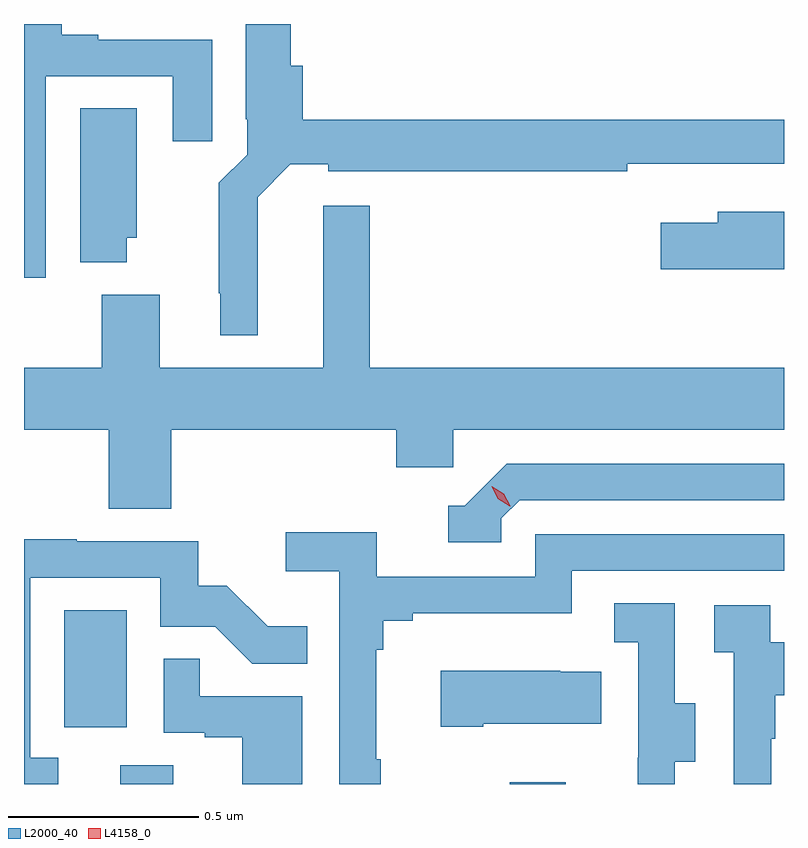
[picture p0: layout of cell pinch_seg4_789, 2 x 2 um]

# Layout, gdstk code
import gdstk
lib = gdstk.Library(unit=1e-6, precision=1e-09)
def R(c, l, rs):  # rectangles x0, y0, x1, y1
    for r in rs: c.add(gdstk.rectangle(r[:2], r[2:], *l))
def P(c, l, *ps):  # polygons
    for p in ps: c.add(gdstk.Polygon(p, *l))
L2000_40 = (2000, 40)
L4158_0 = (4158, 0)

pinch_seg4_789 = lib.new_cell('pinch_seg4_789')
R(pinch_seg4_789, L2000_40, [(816.593,827.856,816.733,827.906), (817.618,827.856,817.765,827.86), (816.446,828.006,816.61,828.313)])
P(pinch_seg4_789, L2000_40, [(816.397,829.719),(816.731,829.719),(816.731,829.548),(816.835,829.548),(816.835,829.815),(816.535,829.815),(816.535,829.828),(816.439,829.828),(816.439,829.856),(816.34,829.856),(816.34,829.188),(816.397,829.188)],
  [(816.955,829.4),(817.041,829.487),(817.14,829.487),(817.14,829.468),(817.928,829.468),(817.928,829.488),(818.34,829.488),(818.34,829.604),(817.073,829.604),(817.073,829.746),(817.042,829.746),(817.042,829.856),(816.923,829.856),(816.923,829.606),(816.927,829.606),(816.927,829.512),(816.853,829.438),(816.853,829.147),(816.857,829.147),(816.857,829.037),(816.955,829.037)],
  [(816.61,829.293),(816.637,829.293),(816.637,829.634),(816.488,829.634),(816.488,829.229),(816.61,829.229)],
  [(816.728,828.788),(817.319,828.788),(817.319,828.69),(817.47,828.69),(817.47,828.788),(818.34,828.788),(818.34,828.952),(817.25,828.952),(817.25,829.378),(817.127,829.378),(817.127,828.952),(816.697,828.952),(816.697,829.144),(816.545,829.144),(816.545,828.952),(816.34,828.952),(816.34,828.788),(816.563,828.788),(816.563,828.58),(816.728,828.58)],
  [(818.34,829.362),(818.165,829.362),(818.165,829.333),(818.016,829.333),(818.016,829.211),(818.34,829.211)],
  [(817.596,828.555),(817.644,828.603),(818.34,828.603),(818.34,828.699),(817.611,828.699),(817.5,828.588),(817.457,828.588),(817.457,828.492),(817.596,828.492)],
  [(817.279,827.921),(817.267,827.921),(817.267,828.209),(817.286,828.209),(817.286,828.286),(817.363,828.286),(817.363,828.305),(817.782,828.305),(817.782,828.417),(818.34,828.417),(818.34,828.513),(817.686,828.513),(817.686,828.402),(817.268,828.402),(817.268,828.518),(817.029,828.518),(817.029,828.416),(817.17,828.416),(817.17,827.856),(817.279,827.856)],
  [(816.43,827.925),(816.357,827.925),(816.357,828.399),(816.699,828.399),(816.699,828.27),(816.843,828.27),(816.941,828.172),(817.085,828.172),(817.085,828.271),(816.981,828.271),(816.874,828.378),(816.798,828.378),(816.798,828.495),(816.479,828.495),(816.479,828.5),(816.34,828.5),(816.34,827.856),(816.43,827.856)],
  [(818.053,827.914),(818.107,827.914),(818.107,828.069),(818.052,828.069),(818.052,828.332),(817.893,828.332),(817.893,828.229),(817.956,828.229),(817.956,827.925),(817.955,827.925),(817.955,827.856),(818.053,827.856)],
  [(818.307,827.975),(818.317,827.975),(818.317,828.089),(818.34,828.089),(818.34,828.229),(818.304,828.229),(818.304,828.327),(818.157,828.327),(818.157,828.203),(818.208,828.203),(818.208,827.856),(818.307,827.856)],
  [(817.072,828.087),(816.803,828.087),(816.803,828.185),(816.708,828.185),(816.708,827.991),(816.815,827.991),(816.815,827.979),(816.914,827.979),(816.914,827.856),(817.072,827.856)],
  [(817.549,828.014),(817.859,828.014),(817.859,828.151),(817.751,828.151),(817.751,828.154),(817.437,828.154),(817.437,828.007),(817.549,828.007)])
P(pinch_seg4_789, L4158_0, [(817.618,828.587),(817.587,828.607),(817.571,828.639),(817.571,828.64),(817.571,828.64),(817.602,828.62),(817.619,828.588),(817.619,828.587)])

lib.write_gds('pinch_seg4_789.gds')
